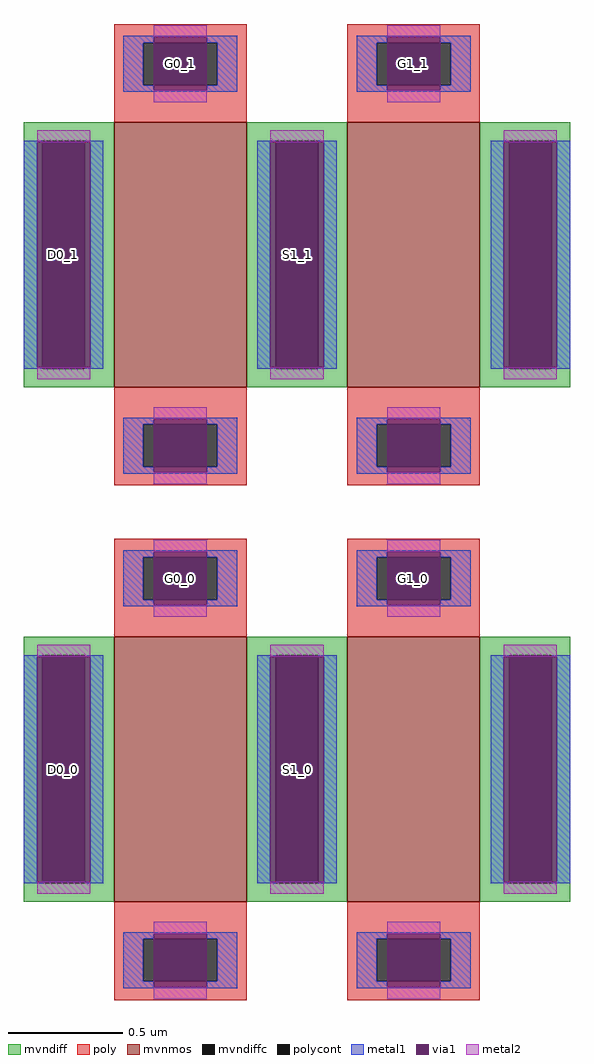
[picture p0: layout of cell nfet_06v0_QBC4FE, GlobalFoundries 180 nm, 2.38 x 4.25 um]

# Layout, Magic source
magic
tech gf180mcuD
magscale 3 26
<< mvnmos >>
rect -138 94 -38 294
rect 38 94 138 294
rect -138 -294 -38 -94
rect 38 -294 138 -94
<< mvndiff >>
rect -206 280 -138 294
rect -206 108 -192 280
rect -160 108 -138 280
rect -206 94 -138 108
rect -38 280 38 294
rect -38 108 -16 280
rect 16 108 38 280
rect -38 94 38 108
rect 138 280 206 294
rect 138 108 160 280
rect 192 108 206 280
rect 138 94 206 108
rect -206 -108 -138 -94
rect -206 -280 -192 -108
rect -160 -280 -138 -108
rect -206 -294 -138 -280
rect -38 -108 38 -94
rect -38 -280 -16 -108
rect 16 -280 38 -108
rect -38 -294 38 -280
rect 138 -108 206 -94
rect 138 -280 160 -108
rect 192 -280 206 -108
rect 138 -294 206 -280
<< mvndiffc >>
rect -192 108 -160 280
rect -16 108 16 280
rect 160 108 192 280
rect -192 -280 -160 -108
rect -16 -280 16 -108
rect 160 -280 192 -108
<< poly >>
rect -138 354 -38 368
rect -138 322 -116 354
rect -60 322 -38 354
rect -138 294 -38 322
rect 38 354 138 368
rect 38 322 60 354
rect 116 322 138 354
rect 38 294 138 322
rect -138 66 -38 94
rect -138 34 -116 66
rect -60 34 -38 66
rect -138 20 -38 34
rect 38 66 138 94
rect 38 34 60 66
rect 116 34 138 66
rect 38 20 138 34
rect -138 -34 -38 -20
rect -138 -66 -116 -34
rect -60 -66 -38 -34
rect -138 -94 -38 -66
rect 38 -34 138 -20
rect 38 -66 60 -34
rect 116 -66 138 -34
rect 38 -94 138 -66
rect -138 -322 -38 -294
rect -138 -354 -116 -322
rect -60 -354 -38 -322
rect -138 -368 -38 -354
rect 38 -322 138 -294
rect 38 -354 60 -322
rect 116 -354 138 -322
rect 38 -368 138 -354
<< polycont >>
rect -116 322 -60 354
rect 60 322 116 354
rect -116 34 -60 66
rect 60 34 116 66
rect -116 -66 -60 -34
rect 60 -66 116 -34
rect -116 -354 -60 -322
rect 60 -354 116 -322
<< metal1 >>
rect -131 358 -45 359
rect -131 354 -108 358
rect -68 354 -45 358
rect -131 322 -116 354
rect -60 322 -45 354
rect -131 318 -108 322
rect -68 318 -45 322
rect -131 317 -45 318
rect 45 358 131 359
rect 45 354 68 358
rect 108 354 131 358
rect 45 322 60 354
rect 116 322 131 354
rect 45 318 68 322
rect 108 318 131 322
rect 45 317 131 318
rect -206 279 -192 280
rect -160 279 -146 280
rect -206 109 -196 279
rect -156 109 -146 279
rect -206 108 -192 109
rect -160 108 -146 109
rect -30 279 -16 280
rect 16 279 30 280
rect -30 109 -20 279
rect 20 109 30 279
rect -30 108 -16 109
rect 16 108 30 109
rect 146 279 160 280
rect 192 279 206 280
rect 146 109 156 279
rect 196 109 206 279
rect 146 108 160 109
rect 192 108 206 109
rect -131 70 -45 71
rect -131 66 -108 70
rect -68 66 -45 70
rect -131 34 -116 66
rect -60 34 -45 66
rect -131 30 -108 34
rect -68 30 -45 34
rect -131 29 -45 30
rect 45 70 131 71
rect 45 66 68 70
rect 108 66 131 70
rect 45 34 60 66
rect 116 34 131 66
rect 45 30 68 34
rect 108 30 131 34
rect 45 29 131 30
rect -131 -30 -45 -29
rect -131 -34 -108 -30
rect -68 -34 -45 -30
rect -131 -66 -116 -34
rect -60 -66 -45 -34
rect -131 -70 -108 -66
rect -68 -70 -45 -66
rect -131 -71 -45 -70
rect 45 -30 131 -29
rect 45 -34 68 -30
rect 108 -34 131 -30
rect 45 -66 60 -34
rect 116 -66 131 -34
rect 45 -70 68 -66
rect 108 -70 131 -66
rect 45 -71 131 -70
rect -206 -109 -192 -108
rect -160 -109 -146 -108
rect -206 -279 -196 -109
rect -156 -279 -146 -109
rect -206 -280 -192 -279
rect -160 -280 -146 -279
rect -30 -109 -16 -108
rect 16 -109 30 -108
rect -30 -279 -20 -109
rect 20 -279 30 -109
rect -30 -280 -16 -279
rect 16 -280 30 -279
rect 146 -109 160 -108
rect 192 -109 206 -108
rect 146 -279 156 -109
rect 196 -279 206 -109
rect 146 -280 160 -279
rect 192 -280 206 -279
rect -131 -318 -45 -317
rect -131 -322 -108 -318
rect -68 -322 -45 -318
rect -131 -354 -116 -322
rect -60 -354 -45 -322
rect -131 -358 -108 -354
rect -68 -358 -45 -354
rect -131 -359 -45 -358
rect 45 -318 131 -317
rect 45 -322 68 -318
rect 108 -322 131 -318
rect 45 -354 60 -322
rect 116 -354 131 -322
rect 45 -358 68 -354
rect 108 -358 131 -354
rect 45 -359 131 -358
<< via1 >>
rect -108 354 -68 358
rect -108 322 -68 354
rect -108 318 -68 322
rect 68 354 108 358
rect 68 322 108 354
rect 68 318 108 322
rect -196 109 -192 279
rect -192 109 -160 279
rect -160 109 -156 279
rect -20 109 -16 279
rect -16 109 16 279
rect 16 109 20 279
rect 156 109 160 279
rect 160 109 192 279
rect 192 109 196 279
rect -108 66 -68 70
rect -108 34 -68 66
rect -108 30 -68 34
rect 68 66 108 70
rect 68 34 108 66
rect 68 30 108 34
rect -108 -34 -68 -30
rect -108 -66 -68 -34
rect -108 -70 -68 -66
rect 68 -34 108 -30
rect 68 -66 108 -34
rect 68 -70 108 -66
rect -196 -279 -192 -109
rect -192 -279 -160 -109
rect -160 -279 -156 -109
rect -20 -279 -16 -109
rect -16 -279 16 -109
rect 16 -279 20 -109
rect 156 -279 160 -109
rect 160 -279 192 -109
rect 192 -279 196 -109
rect -108 -322 -68 -318
rect -108 -354 -68 -322
rect -108 -358 -68 -354
rect 68 -322 108 -318
rect 68 -354 108 -322
rect 68 -358 108 -354
<< metal2 >>
rect -108 358 -68 367
rect -108 309 -68 318
rect 68 358 108 367
rect 68 309 108 318
rect -196 279 -156 288
rect -196 100 -156 109
rect -20 279 20 288
rect -20 100 20 109
rect 156 279 196 288
rect 156 100 196 109
rect -108 70 -68 79
rect -108 21 -68 30
rect 68 70 108 79
rect 68 21 108 30
rect -108 -30 -68 -21
rect -108 -79 -68 -70
rect 68 -30 108 -21
rect 68 -79 108 -70
rect -196 -109 -156 -100
rect -196 -288 -156 -279
rect -20 -109 20 -100
rect -20 -288 20 -279
rect 156 -109 196 -100
rect 156 -288 196 -279
rect -108 -318 -68 -309
rect -108 -367 -68 -358
rect 68 -318 108 -309
rect 68 -367 108 -358
<< labels >>
rlabel mvndiffc -176 -194 -176 -194 0 D0_0
port 1 nsew
rlabel polycont -88 -50 -88 -50 0 G0_0
port 2 nsew
rlabel mvndiffc -176 194 -176 194 0 D0_1
port 3 nsew
rlabel polycont -88 338 -88 338 0 G0_1
port 4 nsew
rlabel mvndiffc 0 -194 0 -194 0 S1_0
port 5 nsew
rlabel polycont 88 -50 88 -50 0 G1_0
port 6 nsew
rlabel mvndiffc 0 194 0 194 0 S1_1
port 7 nsew
rlabel polycont 88 338 88 338 0 G1_1
port 8 nsew
<< properties >>
string gencell nfet_05v0
string library gf180mcu
string parameters w 1.0 l 0.5 m 2 ng 2 diffcov 100 polycov 100 guard 0 glc 1 grc 1 gtc 1 gbc 1 tbcov 100 rlcov 100 topc 1 botc 1 poverlap 0 doverlap 1 lmin 0.45 wmin 0.15 class mosfet compatible {nfet_05v0 nfet_06v0} full_metal 1 conn_gates 0 gate_ring 0 doports 1 viasrc 100 viadrn 100 viagate 70 ccols 1 viagb 0 viagr 0 viagl 0 viagt 0
<< end >>
